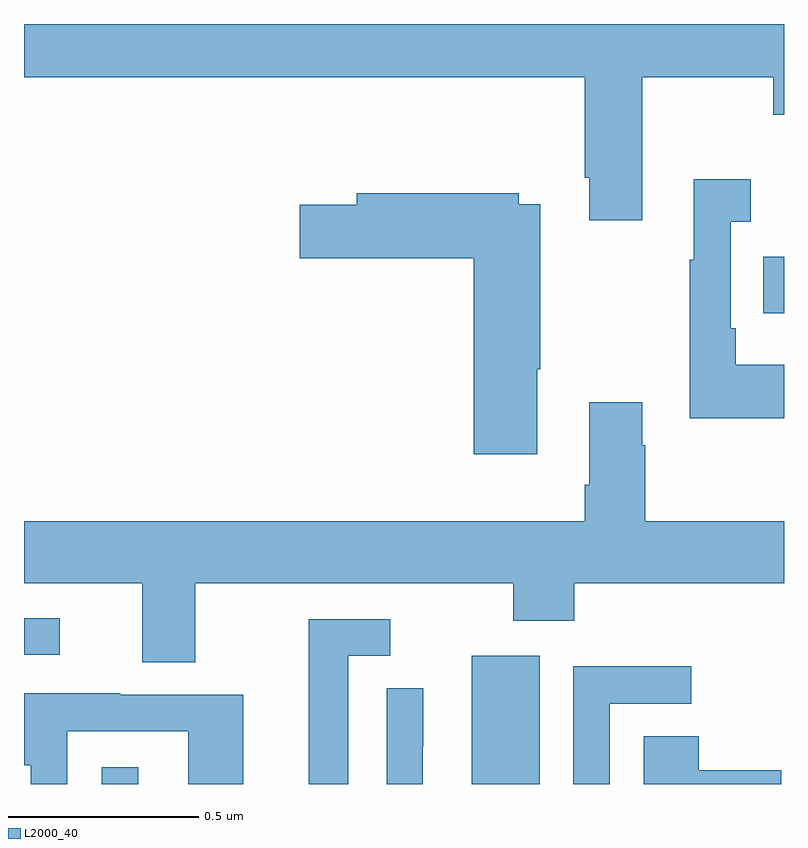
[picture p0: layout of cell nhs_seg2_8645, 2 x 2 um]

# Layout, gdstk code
import gdstk
lib = gdstk.Library(unit=1e-6, precision=1e-09)
def R(c, l, rs):  # rectangles x0, y0, x1, y1
    for r in rs: c.add(gdstk.rectangle(r[:2], r[2:], *l))
def P(c, l, *ps):  # polygons
    for p in ps: c.add(gdstk.Polygon(p, *l))
L2000_40 = (2000, 40)

nhs_seg2_8645 = lib.new_cell('nhs_seg2_8645')
R(nhs_seg2_8645, L2000_40, [(219.204,621.8,219.301,621.844), (220.178,621.8,220.357,622.138), (219,622.14,219.094,622.236), (220.945,623.039,221,623.187)])
P(nhs_seg2_8645, L2000_40, [(220.627,623.66),(220.972,623.66),(220.972,623.561),(221,623.561),(221,623.8),(219,623.8),(219,623.66),(220.475,623.66),(220.475,623.395),(220.487,623.395),(220.487,623.283),(220.627,623.283)],
  [(221,622.903),(220.873,622.903),(220.873,622.999),(220.86,622.999),(220.86,623.279),(220.912,623.279),(220.912,623.392),(220.763,623.392),(220.763,623.179),(220.752,623.179),(220.752,622.763),(221,622.763)],
  [(220.351,622.891),(220.359,622.891),(220.359,623.326),(220.302,623.326),(220.302,623.355),(219.875,623.355),(219.875,623.325),(219.726,623.325),(219.726,623.183),(220.184,623.183),(220.184,622.668),(220.351,622.668)],
  [(219.451,622.328),(220.288,622.328),(220.288,622.229),(220.448,622.229),(220.448,622.328),(221,622.328),(221,622.492),(220.635,622.492),(220.635,622.691),(220.627,622.691),(220.627,622.804),(220.487,622.804),(220.487,622.588),(220.475,622.588),(220.475,622.492),(219,622.492),(219,622.328),(219.311,622.328),(219.311,622.12),(219.451,622.12)],
  [(219.853,622.137),(219.964,622.137),(219.964,622.233),(219.749,622.233),(219.749,621.8),(219.853,621.8)],
  [(220.542,622.011),(220.756,622.011),(220.756,622.11),(220.446,622.11),(220.446,621.8),(220.542,621.8)],
  [(220.049,621.898),(220.05,621.898),(220.05,622.052),(219.954,622.052),(219.954,621.8),(220.049,621.8)],
  [(219.114,621.939),(219.432,621.939),(219.432,621.8),(219.577,621.8),(219.577,622.035),(219.253,622.035),(219.253,622.039),(219,622.039),(219,621.849),(219.018,621.849),(219.018,621.8),(219.114,621.8)],
  [(220.993,621.836),(220.775,621.836),(220.775,621.926),(220.631,621.926),(220.631,621.8),(220.993,621.8)])

lib.write_gds('nhs_seg2_8645.gds')
